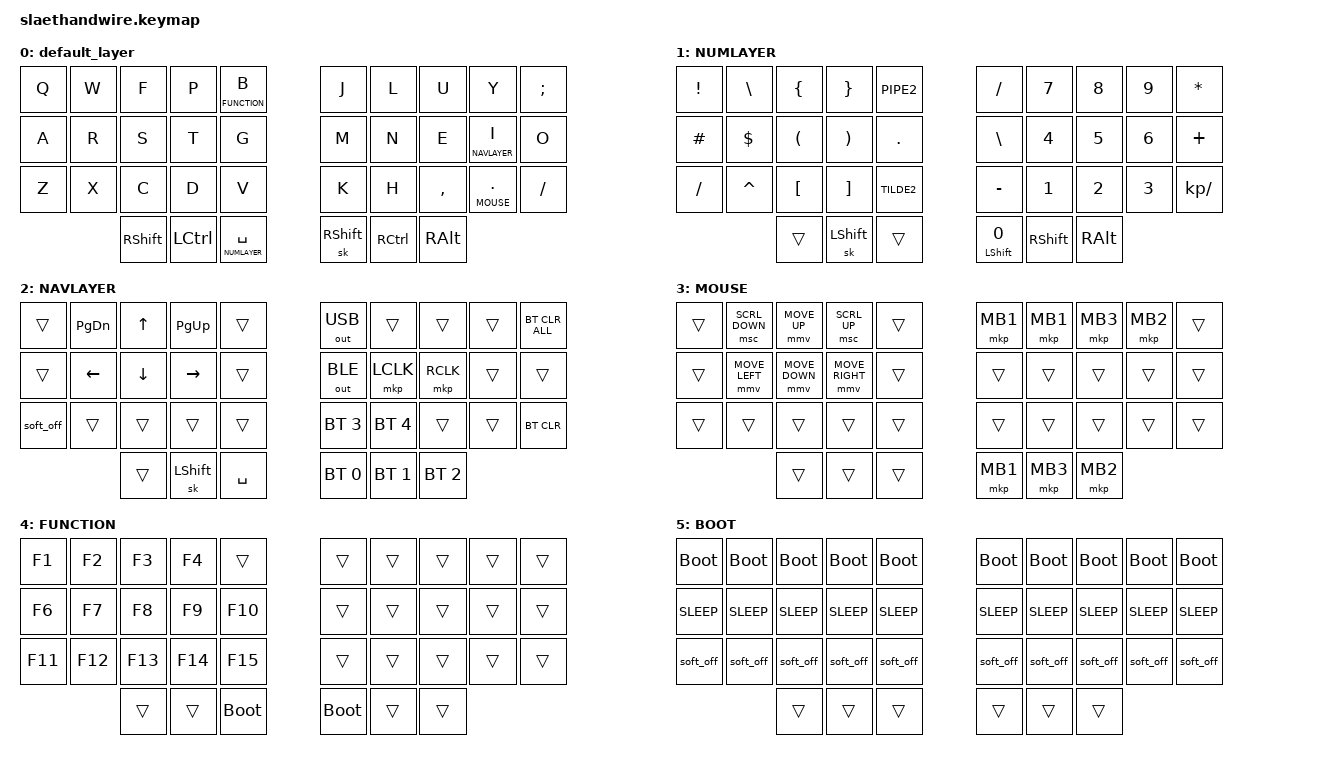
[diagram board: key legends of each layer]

#include <behaviors.dtsi>
#include <slaetcombo.dtsi>
#include <dt-bindings/zmk/keys.h>
#include <dt-bindings/zmk/mouse.h>
#include <dt-bindings/zmk/bt.h>
#include <dt-bindings/zmk/outputs.h>
#include <dt-bindings/zmk/pointing.h>

#define DEFAULT     0
#define NUMLAYER    1
#define NAVLAYER    2
#define MOUSE       3
#define FUNCTION    4
#define BOOT        5

/ {
        keymap {
                compatible = "zmk,keymap";
                default_layer {

                        bindings = <
                            &kp Q   &kp W   &kp F       &kp P       &lt FUNCTION B                      &kp J       &kp L       &kp U       &kp Y               &kp SEMI     
                            &kp A   &kp R   &kp S       &kp T       &kp G                               &kp M       &kp N       &kp E       &lt NAVLAYER I      &kp O        
                            &kp Z   &kp X   &kp C       &kp D       &kp V                               &kp K       &kp H       &kp COMMA   &lt MOUSE DOT       &kp FSLH     
                                            &kp RSHIFT    &kp LCTRL   &lt NUMLAYER SPACE          &sk RSHIFT  &kp RCTRL   &kp RALT 
                  
                        >;
                };
                NUMLAYER {

                        bindings = <
                            &kp EXCL    &kp BSLH    &kp LBRC    &kp RBRC    &kp PIPE2               &kp FSLH                &kp N7      &kp N8     &kp N9   &kp ASTRK          
                            &kp HASH    &kp DLLR    &kp LPAR    &kp RPAR    &kp DOT                 &kp BSLH                &kp N4      &kp N5     &kp N6   &kp PLUS           
                            &kp FSLH    &kp CARET   &kp LBKT    &kp RBKT    &kp TILDE2              &kp MINUS               &kp N1      &kp N2     &kp N3   &kp KP_DIVIDE      
                                                    &trans      &sk LSHIFT  &trans                  &mt LSHIFT NUMBER_0     &kp RSHIFT  &kp RALT
                  
                        >;
                };
                NAVLAYER {

                        bindings = <
                            &trans      &kp PG_DN   &kp UP      &kp PG_UP   &trans                  &out OUT_USB    &trans          &trans          &trans  &bt BT_CLR_ALL  
                            &trans      &kp LEFT    &kp DOWN    &kp RIGHT   &trans                  &out OUT_BLE    &mkp LCLK          &mkp RCLK          &trans  &trans        
                            &soft_off   &trans      &trans      &trans      &trans                  &bt BT_SEL 3    &bt BT_SEL 4    &trans          &trans  &bt BT_CLR    
                                                    &trans      &sk LSHIFT  &kp SPACE               &bt BT_SEL 0    &bt BT_SEL 1    &bt BT_SEL 2
                  
                        >;
                };
                MOUSE { 

                        bindings = <
                            &trans  &msc SCRL_DOWN      &mmv MOVE_UP    &msc SCRL_UP        &trans                  &mkp MB1      &mkp MB1      &mkp MB3  &mkp MB2  &trans 
                            &trans  &mmv MOVE_LEFT      &mmv MOVE_DOWN  &mmv MOVE_RIGHT     &trans                  &trans      &trans      &trans  &trans  &trans 
                            &trans  &trans              &trans          &trans              &trans                  &trans      &trans      &trans  &trans  &trans 
                                                        &trans          &trans              &trans                  &mkp MB1    &mkp MB3    &mkp MB2                  
                        >;
                };

                FUNCTION {

                        bindings = <
                            &kp F1  &kp F2  &kp F3  &kp F4  &trans                  &trans  &trans  &trans  &trans  &trans 
                            &kp F6  &kp F7  &kp F8  &kp F9  &kp F10                 &trans  &trans  &trans  &trans  &trans 
                            &kp F11 &kp F12 &kp F13 &kp F14 &kp F15                 &trans  &trans  &trans  &trans  &trans 
                                            &trans      &trans    &bootloader         &bootloader  &trans &trans                  
                        >;
                };

                BOOT {

                        bindings = <
                            &bootloader     &bootloader     &bootloader     &bootloader     &bootloader             &bootloader     &bootloader     &bootloader     &bootloader     &bootloader 
                            &kp K_SLEEP     &kp K_SLEEP     &kp K_SLEEP     &kp K_SLEEP     &kp K_SLEEP             &kp K_SLEEP     &kp K_SLEEP     &kp K_SLEEP     &kp K_SLEEP     &kp K_SLEEP  
                            &soft_off       &soft_off       &soft_off       &soft_off       &soft_off               &soft_off       &soft_off       &soft_off       &soft_off       &soft_off 
                                                            &trans          &trans          &trans                  &trans          &trans          &trans                  
                        >;
                };

        };
};

/* You will never find what you seek... stop looking */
